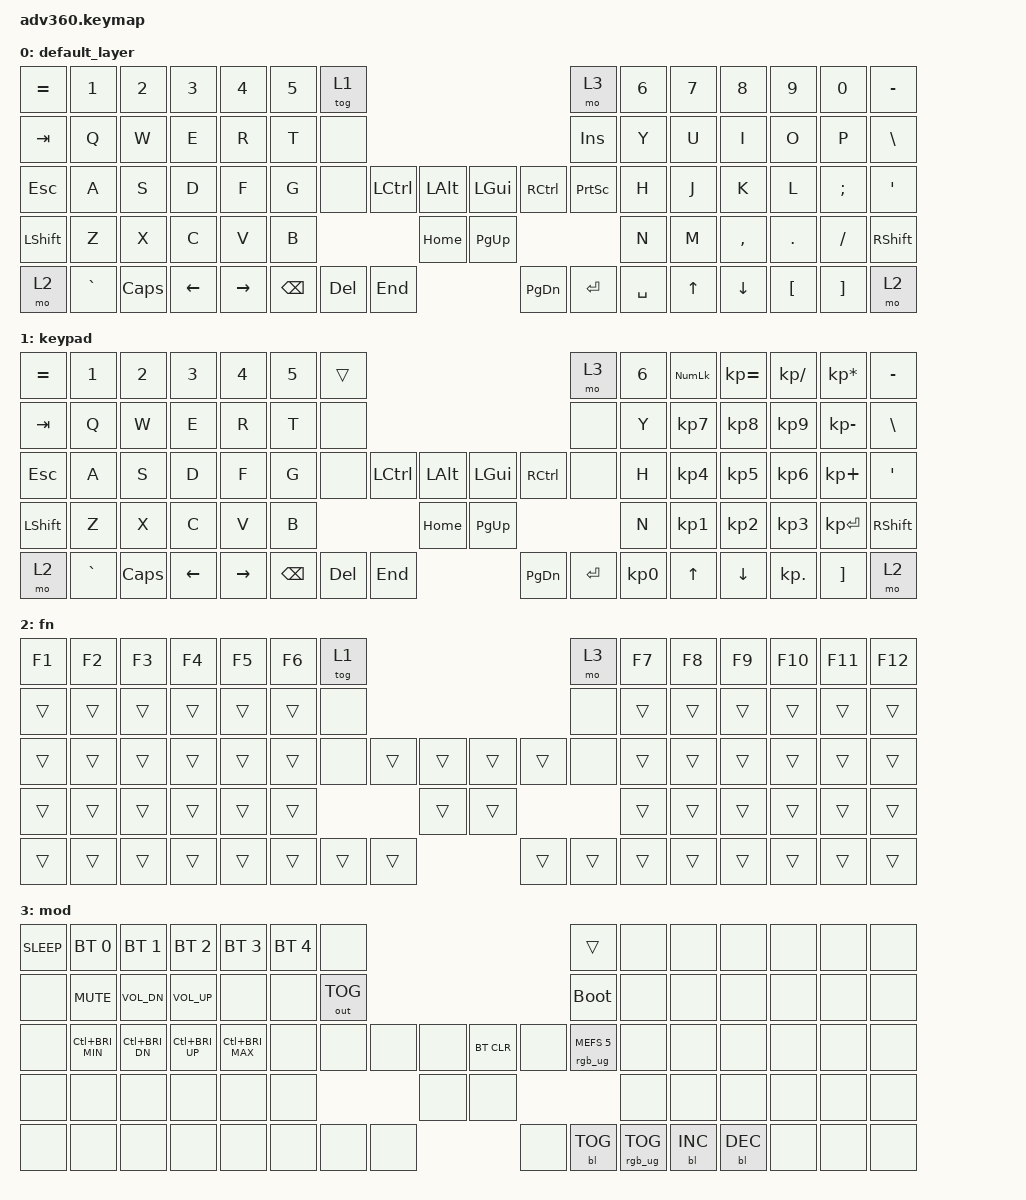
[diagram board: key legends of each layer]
#include <behaviors.dtsi>
#include <dt-bindings/zmk/keys.h>
#include <dt-bindings/zmk/bt.h>
#include <dt-bindings/zmk/rgb.h>
#include <dt-bindings/zmk/backlight.h>
#include <dt-bindings/zmk/outputs.h>

/ {
    behaviors {
      #include "macros.dtsi"

      hm: homerow_mods {
          compatible = "zmk,behavior-hold-tap";
          label = "HOMEROW_MODS";
          #binding-cells = <2>;
          tapping-term-ms = <200>;
          quick_tap_ms = <175>;
          flavor = "tap-preferred";
          bindings = <&kp>, <&kp>;
      };
    };

  combos {
    compatible = "zmk,combos";
    // ą = a↑
    combo_pl_a {
      timeout-ms = <50>;
      key-positions = <29 71>;
      bindings = <&kp RC(A)>;
    };
    // ć = c↑
    combo_pl_c {
      timeout-ms = <50>;
      key-positions = <49 71>;
      bindings = <&kp RC(C)>;
    };
    // ę = e↑
    combo_pl_e {
      timeout-ms = <50>;
      key-positions = <17 71>;
      bindings = <&kp RC(E)>;
    };
    // ł = l→
    combo_pl_l {
      timeout-ms = <50>;
      key-positions = <43 64>;
      bindings = <&kp RC(L)>;
    };
    // ń = n→
    combo_pl_n {
      timeout-ms = <50>;
      key-positions = <54 64>;
      bindings = <&kp RC(N)>;
    };
    // ó = o→
    combo_pl_o {
      timeout-ms = <50>;
      key-positions = <25 64>;
      bindings = <&kp RC(O)>;
    };
    // ś = s↑
    combo_pl_s {
      timeout-ms = <50>;
      key-positions = <30 71>;
      bindings = <&kp RC(S)>;
    };
    // ż = z↑
    combo_pl_z1 {
      timeout-ms = <50>;
      key-positions = <47 71>;
      bindings = <&kp RC(Z)>;
    };
    // ź = x↑ (BUG?)
    combo_pl_z2 {
      timeout-ms = <50>;
      key-positions = <48 71>;
      bindings = <&kp RC(X)>;
    };
    // ź = z↓
    combo_pl_z3 {
      timeout-ms = <50>;
      key-positions = <47 72>;
      bindings = <&kp RC(X)>;
    };
  };

  keymap {
    compatible = "zmk,keymap";

    default_layer {
      bindings = <
        &kp EQUAL &kp N1    &kp N2   &kp N3   &kp N4     &kp N5 &tog 1                                                           &mo 3           &kp N6 &kp N7 &kp N8    &kp N9   &kp N0   &kp MINUS
        &kp TAB   &kp Q     &kp W    &kp E    &kp R      &kp T  &none                                                            &kp INSERT      &kp Y  &kp U  &kp I     &kp O    &kp P    &kp BSLH
        &kp ESC   &kp A     &kp S    &kp D    &kp F      &kp G  &none           &kp LCTRL &kp LALT &kp LGUI  &kp RCTRL           &kp PRINTSCREEN &kp H  &kp J  &kp K     &kp L    &kp SEMI &kp SQT
        &kp LSHFT &kp Z     &kp X    &kp C    &kp V      &kp B                            &kp HOME &kp PG_UP                                     &kp N  &kp M  &kp COMMA &kp DOT  &kp FSLH &kp RSHFT
        &mo 2     &kp GRAVE &kp CAPS &kp LEFT &kp RIGHT                &kp BSPC &kp DEL   &kp END  &kp PG_DN &kp ENTER &kp SPACE                        &kp UP &kp DOWN  &kp LBKT &kp RBKT &mo 2
      >;
    };
    keypad {
      bindings = <
        &kp EQUAL &kp N1    &kp N2   &kp N3   &kp N4     &kp N5 &trans                                                           &mo 3 &kp N6 &kp KP_NUM &kp KP_EQUAL &kp KP_DIVIDE &kp KP_MULTIPLY &kp MINUS
        &kp TAB   &kp Q     &kp W    &kp E    &kp R      &kp T  &none                                                            &none &kp Y  &kp KP_N7  &kp KP_N8    &kp KP_N9     &kp KP_MINUS    &kp BSLH
        &kp ESC   &kp A     &kp S    &kp D    &kp F      &kp G  &none           &kp LCTRL &kp LALT &kp LGUI  &kp RCTRL           &none &kp H  &kp KP_N4  &kp KP_N5    &kp KP_N6     &kp KP_PLUS     &kp SQT
        &kp LSHFT &kp Z     &kp X    &kp C    &kp V      &kp B                            &kp HOME &kp PG_UP                           &kp N  &kp KP_N1  &kp KP_N2    &kp KP_N3     &kp KP_ENTER    &kp RSHFT
        &mo 2     &kp GRAVE &kp CAPS &kp LEFT &kp RIGHT                &kp BSPC &kp DEL   &kp END  &kp PG_DN &kp ENTER &kp KP_N0              &kp UP     &kp DOWN     &kp KP_DOT    &kp RBKT        &mo 2
      >;
    };
    fn {
      bindings = <
        &kp F1 &kp F2 &kp F3 &kp F4 &kp F5 &kp F6 &tog 1                                           &mo 3 &kp F7 &kp F8 &kp F9 &kp F10 &kp F11 &kp F12
        &trans &trans &trans &trans &trans &trans  &none                                           &none &trans &trans &trans &trans  &trans  &trans
        &trans &trans &trans &trans &trans &trans  &none        &trans &trans &trans &trans        &none &trans &trans &trans &trans  &trans  &trans
        &trans &trans &trans &trans &trans &trans                      &trans &trans                     &trans &trans &trans &trans  &trans  &trans
        &trans &trans &trans &trans &trans               &trans &trans &trans &trans &trans &trans              &trans &trans &trans  &trans  &trans
      >;
    };
    mod {
      bindings = <
        &kp C_SLEEP &bt BT_SEL 0      &bt BT_SEL 1     &bt BT_SEL 2     &bt BT_SEL 3      &bt BT_SEL 4 &none                                                                     &trans                 &none &none      &none      &none &none &none
        &none       &kp C_MUTE        &kp C_VOL_DN     &kp C_VOL_UP     &none             &none        &out OUT_TOG                                                              &bootloader            &none &none      &none      &none &none &none
        &none       &kp LC(C_BRI_MIN) &kp LC(C_BRI_DN) &kp LC(C_BRI_UP) &kp LC(C_BRI_MAX) &none        &none                   &none &none &bt BT_CLR &none                      &rgb_ug RGB_MEFS_CMD 5 &none &none      &none      &none &none &none
        &none       &none             &none            &none            &none             &none                                      &none &none                                                        &none &none      &none      &none &none &none
        &none       &none             &none            &none            &none                                           &none &none &none &none      &bl BL_TOG &rgb_ug RGB_TOG                               &bl BL_INC &bl BL_DEC &none &none &none
      >;
    };
  };
};

// vim: tw=0 nowrap
